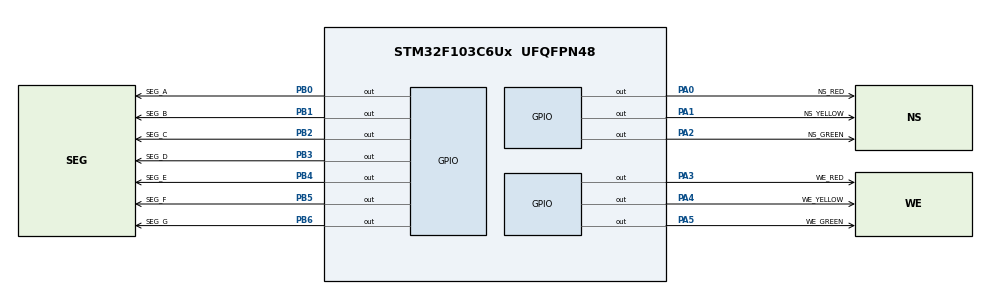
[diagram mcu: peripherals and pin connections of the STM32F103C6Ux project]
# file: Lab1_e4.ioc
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Mcu.Family=STM32F1
Mcu.Name=STM32F103C6Ux
Mcu.Package=UFQFPN48
NVIC.PriorityGroup=NVIC_PRIORITYGROUP_4
PA0-WKUP.GPIO_Label=NS_RED
PA0-WKUP.PinState=GPIO_PIN_SET
PA0-WKUP.Signal=GPIO_Output
PA1.GPIO_Label=NS_YELLOW
PA1.PinState=GPIO_PIN_SET
PA1.Signal=GPIO_Output
PA2.GPIO_Label=NS_GREEN
PA2.PinState=GPIO_PIN_SET
PA2.Signal=GPIO_Output
PA3.GPIO_Label=WE_RED
PA3.PinState=GPIO_PIN_SET
PA3.Signal=GPIO_Output
PA4.GPIO_Label=WE_YELLOW
PA4.PinState=GPIO_PIN_SET
PA4.Signal=GPIO_Output
PA5.GPIO_Label=WE_GREEN
PA5.PinState=GPIO_PIN_SET
PA5.Signal=GPIO_Output
PB0.GPIO_Label=SEG_A
PB0.PinState=GPIO_PIN_SET
PB0.Signal=GPIO_Output
PB1.GPIO_Label=SEG_B
PB1.PinState=GPIO_PIN_SET
PB1.Signal=GPIO_Output
PB2.GPIO_Label=SEG_C
PB2.PinState=GPIO_PIN_SET
PB2.Signal=GPIO_Output
PB3.GPIO_Label=SEG_D
PB3.PinState=GPIO_PIN_SET
PB3.Signal=GPIO_Output
PB4.GPIO_Label=SEG_E
PB4.PinState=GPIO_PIN_SET
PB4.Signal=GPIO_Output
PB5.GPIO_Label=SEG_F
PB5.PinState=GPIO_PIN_SET
PB5.Signal=GPIO_Output
PB6.GPIO_Label=SEG_G
PB6.PinState=GPIO_PIN_SET
PB6.Signal=GPIO_Output
ProjectManager.HeapSize=0x200
ProjectManager.StackSize=0x400
ProjectManager.TargetToolchain=STM32CubeIDE
RCC.APB1Freq_Value=8000000
RCC.APB2Freq_Value=8000000
VP_SYS_VS_ND.Mode=No_Debug
board=custom

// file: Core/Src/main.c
/* USER CODE BEGIN Header */
/**
  ******************************************************************************
  * @file           : main.c
  * @brief          : Main program body
  ******************************************************************************
  * @attention
  *
  * <h2><center>&copy; Copyright (c) 2026 STMicroelectronics.
  * All rights reserved.</center></h2>
  *
  * This software component is licensed by ST under BSD 3-Clause license,
  * the "License"; You may not use this file except in compliance with the
  * License. You may obtain a copy of the License at:
  *                        opensource.org/licenses/BSD-3-Clause
  *
  ******************************************************************************
  */
/* USER CODE END Header */
#include "main.h"

void SystemClock_Config(void);
static void MX_GPIO_Init(void);

/* USER CODE BEGIN 0 */
void display7SEG(int num)
{
    /*
     * Bit order:
     * bit 0 = a
     * bit 1 = b
     * bit 2 = c
     * bit 3 = d
     * bit 4 = e
     * bit 5 = f
     * bit 6 = g
     *
     * A 1 in the table means that the segment should be ON.
     */
    static const uint8_t digit_pattern[10] =
    {
        0x3F,   // 0: a b c d e f
        0x06,   // 1:   b c
        0x5B,   // 2: a b   d e   g
        0x4F,   // 3: a b c d     g
        0x66,   // 4:   b c     f g
        0x6D,   // 5: a   c d   f g
        0x7D,   // 6: a   c d e f g
        0x07,   // 7: a b c
        0x7F,   // 8: a b c d e f g
        0x6F    // 9: a b c d   f g
    };

    if (num < 0 || num > 9)
    {
        num = 0;
    }

    uint8_t pattern = digit_pattern[num];

    HAL_GPIO_WritePin(SEG_A_GPIO_Port, SEG_A_Pin,
                      (pattern & (1U << 0)) ? GPIO_PIN_RESET : GPIO_PIN_SET);

    HAL_GPIO_WritePin(SEG_B_GPIO_Port, SEG_B_Pin,
                      (pattern & (1U << 1)) ? GPIO_PIN_RESET : GPIO_PIN_SET);

    HAL_GPIO_WritePin(SEG_C_GPIO_Port, SEG_C_Pin,
                      (pattern & (1U << 2)) ? GPIO_PIN_RESET : GPIO_PIN_SET);

    HAL_GPIO_WritePin(SEG_D_GPIO_Port, SEG_D_Pin,
                      (pattern & (1U << 3)) ? GPIO_PIN_RESET : GPIO_PIN_SET);

    HAL_GPIO_WritePin(SEG_E_GPIO_Port, SEG_E_Pin,
                      (pattern & (1U << 4)) ? GPIO_PIN_RESET : GPIO_PIN_SET);

    HAL_GPIO_WritePin(SEG_F_GPIO_Port, SEG_F_Pin,
                      (pattern & (1U << 5)) ? GPIO_PIN_RESET : GPIO_PIN_SET);

    HAL_GPIO_WritePin(SEG_G_GPIO_Port, SEG_G_Pin,
                      (pattern & (1U << 6)) ? GPIO_PIN_RESET : GPIO_PIN_SET);
}
/* USER CODE END 0 */

int main(void)
{

  /* MCU Configuration--------------------------------------------------------*/

  /* Reset of all peripherals, Initializes the Flash interface and the Systick. */
  HAL_Init();

  /* Configure the system clock */
  SystemClock_Config();

  /* Initialize all configured peripherals */
  MX_GPIO_Init();

  /* Infinite loop */
  /* USER CODE BEGIN WHILE */
  int counter = 0;

  while (1)
  {
      display7SEG(counter);

      HAL_Delay(1000);

      counter++;

      if (counter >= 10) counter = 0;
  }
    /* USER CODE END WHILE */

}

void SystemClock_Config(void)
{
  RCC_OscInitTypeDef RCC_OscInitStruct = {0};
  RCC_ClkInitTypeDef RCC_ClkInitStruct = {0};

  /** Initializes the RCC Oscillators according to the specified parameters
  * in the RCC_OscInitTypeDef structure.
  */
  RCC_OscInitStruct.OscillatorType = RCC_OSCILLATORTYPE_HSI;
  RCC_OscInitStruct.HSIState = RCC_HSI_ON;
  RCC_OscInitStruct.HSICalibrationValue = RCC_HSICALIBRATION_DEFAULT;
  RCC_OscInitStruct.PLL.PLLState = RCC_PLL_NONE;
  if (HAL_RCC_OscConfig(&RCC_OscInitStruct) != HAL_OK)
  {
    Error_Handler();
  }
  /** Initializes the CPU, AHB and APB buses clocks
  */
  RCC_ClkInitStruct.ClockType = RCC_CLOCKTYPE_HCLK|RCC_CLOCKTYPE_SYSCLK
                              |RCC_CLOCKTYPE_PCLK1|RCC_CLOCKTYPE_PCLK2;
  RCC_ClkInitStruct.SYSCLKSource = RCC_SYSCLKSOURCE_HSI;
  RCC_ClkInitStruct.AHBCLKDivider = RCC_SYSCLK_DIV1;
  RCC_ClkInitStruct.APB1CLKDivider = RCC_HCLK_DIV1;
  RCC_ClkInitStruct.APB2CLKDivider = RCC_HCLK_DIV1;

  if (HAL_RCC_ClockConfig(&RCC_ClkInitStruct, FLASH_LATENCY_0) != HAL_OK)
  {
    Error_Handler();
  }
}

static void MX_GPIO_Init(void)
{
  GPIO_InitTypeDef GPIO_InitStruct = {0};

  /* GPIO Ports Clock Enable */
  __HAL_RCC_GPIOA_CLK_ENABLE();
  __HAL_RCC_GPIOB_CLK_ENABLE();

  /*Configure GPIO pin Output Level */
  HAL_GPIO_WritePin(GPIOA, NS_RED_Pin|NS_YELLOW_Pin|NS_GREEN_Pin|WE_RED_Pin
                          |WE_YELLOW_Pin|WE_GREEN_Pin, GPIO_PIN_SET);

  /*Configure GPIO pin Output Level */
  HAL_GPIO_WritePin(GPIOB, SEG_A_Pin|SEG_B_Pin|SEG_C_Pin|SEG_D_Pin
                          |SEG_E_Pin|SEG_F_Pin|SEG_G_Pin, GPIO_PIN_SET);

  /*Configure GPIO pins : NS_RED_Pin NS_YELLOW_Pin NS_GREEN_Pin WE_RED_Pin
                           WE_YELLOW_Pin WE_GREEN_Pin */
  GPIO_InitStruct.Pin = NS_RED_Pin|NS_YELLOW_Pin|NS_GREEN_Pin|WE_RED_Pin
                          |WE_YELLOW_Pin|WE_GREEN_Pin;
  GPIO_InitStruct.Mode = GPIO_MODE_OUTPUT_PP;
  GPIO_InitStruct.Pull = GPIO_NOPULL;
  GPIO_InitStruct.Speed = GPIO_SPEED_FREQ_LOW;
  HAL_GPIO_Init(GPIOA, &GPIO_InitStruct);

  /*Configure GPIO pins : SEG_A_Pin SEG_B_Pin SEG_C_Pin SEG_D_Pin
                           SEG_E_Pin SEG_F_Pin SEG_G_Pin */
  GPIO_InitStruct.Pin = SEG_A_Pin|SEG_B_Pin|SEG_C_Pin|SEG_D_Pin
                          |SEG_E_Pin|SEG_F_Pin|SEG_G_Pin;
  GPIO_InitStruct.Mode = GPIO_MODE_OUTPUT_PP;
  GPIO_InitStruct.Pull = GPIO_NOPULL;
  GPIO_InitStruct.Speed = GPIO_SPEED_FREQ_LOW;
  HAL_GPIO_Init(GPIOB, &GPIO_InitStruct);

}

void Error_Handler(void)
{
  __disable_irq();
  while (1)
  {
  }
}

/************************ (C) COPYRIGHT STMicroelectronics *****END OF FILE****/
